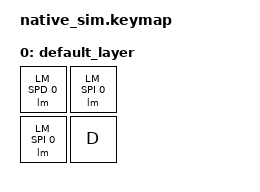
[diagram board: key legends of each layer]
#include <dt-bindings/zmk/keys.h>
#include <dt-bindings/zmk/kscan_mock.h>
#include <dt-bindings/zmk/led_matrix.h>
#include <dt-bindings/zmk/led_matrix_colors.h>
#include <dt-bindings/led/led.h>
#include <behaviors.dtsi>

/ {
    chosen {
        zmk,kscan = &kscan;
        zmk,led-matrix = &led_matrix;
    };

    kscan: native_posix_64_kscan_mock {
        compatible = "zmk,kscan-mock";
        rows = <2>;
        columns = <2>;
        exit-after;
        events = <
            ZMK_MOCK_PRESS(0,0,700)
            ZMK_MOCK_RELEASE(0,0,10)
            ZMK_MOCK_PRESS(0,1,700)
            ZMK_MOCK_RELEASE(0,1,10)
            ZMK_MOCK_PRESS(1,0,700)
            ZMK_MOCK_RELEASE(1,0,10)
        >;
    };

    keymap {
        compatible = "zmk,keymap";

        default_layer {
            bindings = <
                &lm LM_SPD 0 &lm LM_SPI 0
                &lm LM_SPI 0 &kp D
            >;
        };
    };

    led_matrix_dev: led_matrix_dev {
        compatible = "zmk,led-mock";
        mode = "color";

        led_0 { index = <0>; color-mapping = <LED_COLOR_ID_GREEN LED_COLOR_ID_RED LED_COLOR_ID_BLUE>; };
        led_1 { index = <1>; color-mapping = <LED_COLOR_ID_GREEN LED_COLOR_ID_RED LED_COLOR_ID_BLUE>; };
        led_2 { index = <2>; color-mapping = <LED_COLOR_ID_GREEN LED_COLOR_ID_RED LED_COLOR_ID_BLUE>; };
        led_3 { index = <3>; color-mapping = <LED_COLOR_ID_GREEN LED_COLOR_ID_RED LED_COLOR_ID_BLUE>; };
    };

    led_matrix: led_matrix {
        compatible = "zmk,led-matrix";
        led-driver = "matrix";
        led-device = <&led_matrix_dev>;
        led-count = <4>;
        matrix-led-grid = <
            0 1 LM_BREAK
            2 3
        >;

        profile0 {
            profile-id = <0>;
            display-name = "Rainbow Speed";
            renderer = "solid";
            colors = <LM_RAINBOW>;
            brightness = <100>;
            period-ms = <1000>;
        };
    };
};
